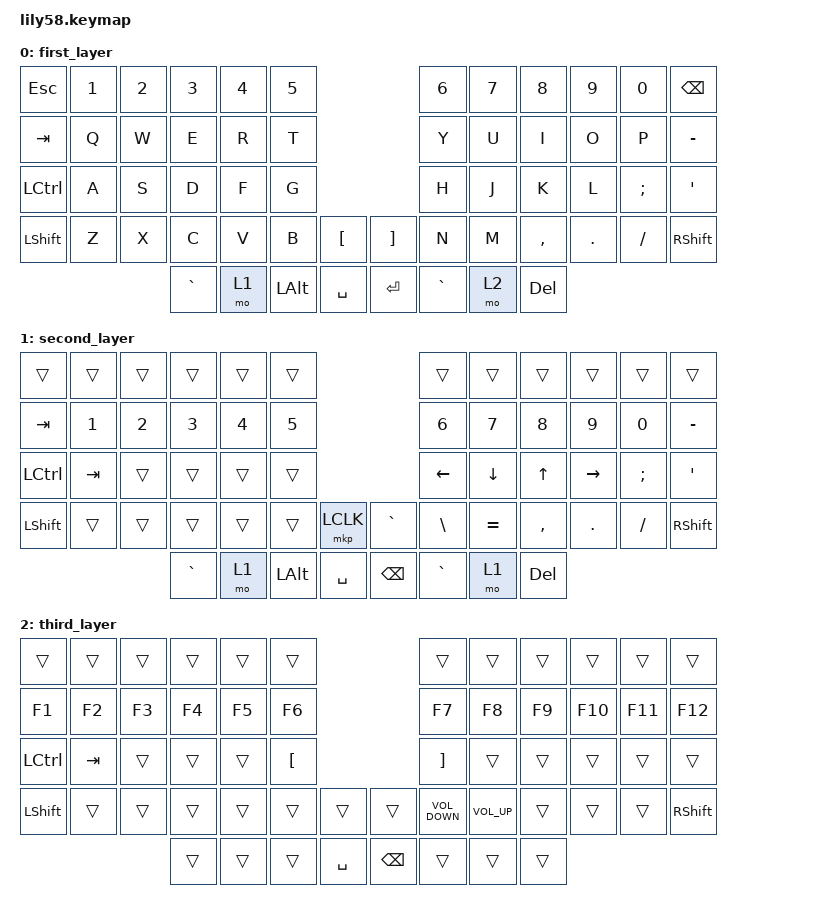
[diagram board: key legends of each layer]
/*
 * Copyright (c) 2020 The ZMK Contributors
 *
 * SPDX-License-Identifier: MIT
 */

#include <dt-bindings/zmk/mouse.h>
#include <behaviors.dtsi>
#include <dt-bindings/zmk/keys.h>
#include <dt-bindings/zmk/pointing.h>

/ {
    combos {
        compatible = "zmk,combos";

        esc {
            bindings = <&kp ESC>;
            key-positions = <25 26 27 28>;
        };

        enter {
            bindings = <&kp ENTER>;
            key-positions = <31 32 33>;
        };
    };

    keymap {
        compatible = "zmk,keymap";

        first_layer {
            // ------------------------------------------------------------------------------------------------------------
            // |  TAB  |  1  |  2  |  3   |  4   |  5   |                   |  6   |  7    |  8    |  9   |   0   |   -   |
            // |  ESC  |  Q  |  W  |  E   |  R   |  T   |                   |  Y   |  U    |  I    |  O   |   P   |  BSP  |
            // |  CTRL |  A  |  S  |  D   |  F   |  G   |                   |  H   |  J    |  K    |  L   |   ;   |   '   |
            // | SHIFT |  Z  |  X  |  C   |  V   |  B   |   "["  |  |  "]"  |  N   |  M    |  ,    |  .   |   /   | SHIFT |
            //                     | ALT  | GUI  | LOWER|  SPACE |  | ENTER | RAISE| BSPC  | GUI   |

            bindings = <
&kp ESC     &kp N1  &kp N2  &kp N3     &kp N4  &kp N5                           &kp N6     &kp N7  &kp N8     &kp N9   &kp N0    &kp BSPC
&kp TAB     &kp Q   &kp W   &kp E      &kp R   &kp T                            &kp Y      &kp U   &kp I      &kp O    &kp P     &kp MINUS
&kp LCTRL   &kp A   &kp S   &kp D      &kp F   &kp G                            &kp H      &kp J   &kp K      &kp L    &kp SEMI  &kp SQT
&kp LSHIFT  &kp Z   &kp X   &kp C      &kp V   &kp B     &kp LBKT     &kp RBKT  &kp N      &kp M   &kp COMMA  &kp DOT  &kp FSLH  &kp RSHFT
                            &kp GRAVE  &mo 1   &kp LALT  &kp SPACE    &kp RET   &kp GRAVE  &mo 2   &kp DEL
            >;
        };

        second_layer {
            // ------------------------------------------------------------------------------------------------------------
            // | BTCLR | BT1 | BT2 |  BT3 |  BT4 |  BT5 |                   |      |       |       |      |       |       |
            // |  F1   |  F2 |  F3 |  F4  |  F5  |  F6  |                   |  F7  |  F8   |  F9   |  F10 |  F11  |  F12  |
            // |   `   |  !  |  @  |  #   |  $   |  %   |                   |  ^   |  &    |  *    |  (   |   )   |   ~   |
            // |       |     |     |      |      |      |  LCLK  |  | RCLK  |      |  _    |  +    |  {   |   }   |  "|"  |
            //                     |      |      |      |        |  |       |      |       |       |

            bindings = <
&trans      &trans        &trans        &trans        &trans        &trans                                    &trans        &trans        &trans        &trans        &trans        &trans
&kp TAB     &kp NUMBER_1  &kp NUMBER_2  &kp NUMBER_3  &kp NUMBER_4  &kp NUMBER_5                              &kp NUMBER_6  &kp NUMBER_7  &kp NUMBER_8  &kp NUMBER_9  &kp NUMBER_0  &kp MINUS
&kp LCTRL   &kp TAB       &trans        &trans        &trans        &trans                                    &kp LEFT      &kp DOWN      &kp UP        &kp RIGHT     &kp SEMI      &kp SQT
&kp LSHIFT  &trans        &trans        &trans        &trans        &trans        &mkp LCLK    &kp GRAVE      &kp BSLH      &kp EQUAL     &kp COMMA     &kp PERIOD    &kp FSLH      &kp RSHFT
                                        &kp GRAVE     &mo 1         &kp LALT      &kp SPACE    &kp BACKSPACE  &kp GRAVE     &mo 1         &kp DEL
            >;
        };

        third_layer {
            bindings = <
&trans      &trans   &trans  &trans  &trans  &trans                           &trans             &trans           &trans  &trans   &trans   &trans
&kp F1      &kp F2   &kp F3  &kp F4  &kp F5  &kp F6                           &kp F7             &kp F8           &kp F9  &kp F10  &kp F11  &kp F12
&kp LCTRL   &kp TAB  &trans  &trans  &trans  &kp LBKT                         &kp RBKT           &trans           &trans  &trans   &trans   &trans
&kp LSHIFT  &trans   &trans  &trans  &trans  &trans    &trans       &trans    &kp C_VOLUME_DOWN  &kp C_VOLUME_UP  &trans  &trans   &trans   &kp RSHFT
                             &trans  &trans  &trans    &kp SPACE    &kp BSPC  &trans             &trans           &trans
            >;
        };
    };
};
